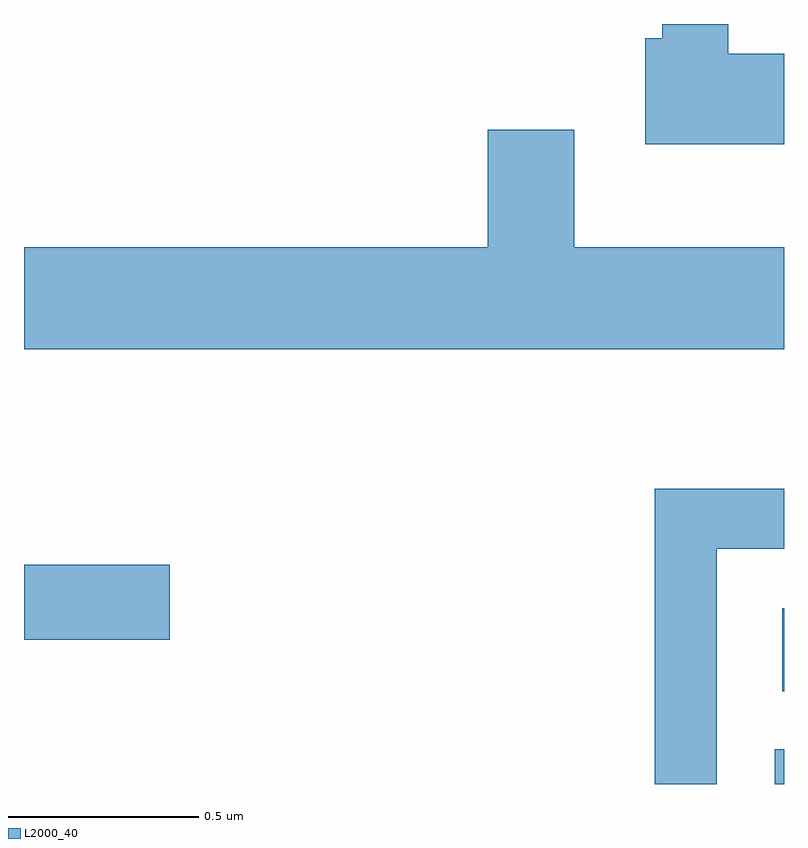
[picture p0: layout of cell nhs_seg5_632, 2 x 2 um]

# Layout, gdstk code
import gdstk
lib = gdstk.Library(unit=1e-6, precision=1e-09)
def R(c, l, rs):  # rectangles x0, y0, x1, y1
    for r in rs: c.add(gdstk.rectangle(r[:2], r[2:], *l))
def P(c, l, *ps):  # polygons
    for p in ps: c.add(gdstk.Polygon(p, *l))
L2000_40 = (2000, 40)

nhs_seg5_632 = lib.new_cell('nhs_seg5_632')
R(nhs_seg5_632, L2000_40, [(191.586,1480.072,191.611,1480.164), (191.606,1480.316,191.611,1480.534), (189.611,1480.451,189.994,1480.649)])
P(nhs_seg5_632, L2000_40, [(191.611,1481.994),(191.464,1481.994),(191.464,1482.072),(191.291,1482.072),(191.291,1482.034),(191.246,1482.034),(191.246,1481.756),(191.611,1481.756)],
  [(191.611,1481.484),(191.059,1481.484),(191.059,1481.794),(190.831,1481.794),(190.831,1481.484),(189.611,1481.484),(189.611,1481.216),(191.611,1481.216)],
  [(191.434,1480.691),(191.611,1480.691),(191.611,1480.849),(191.271,1480.849),(191.271,1480.072),(191.434,1480.072)])

lib.write_gds('nhs_seg5_632.gds')
